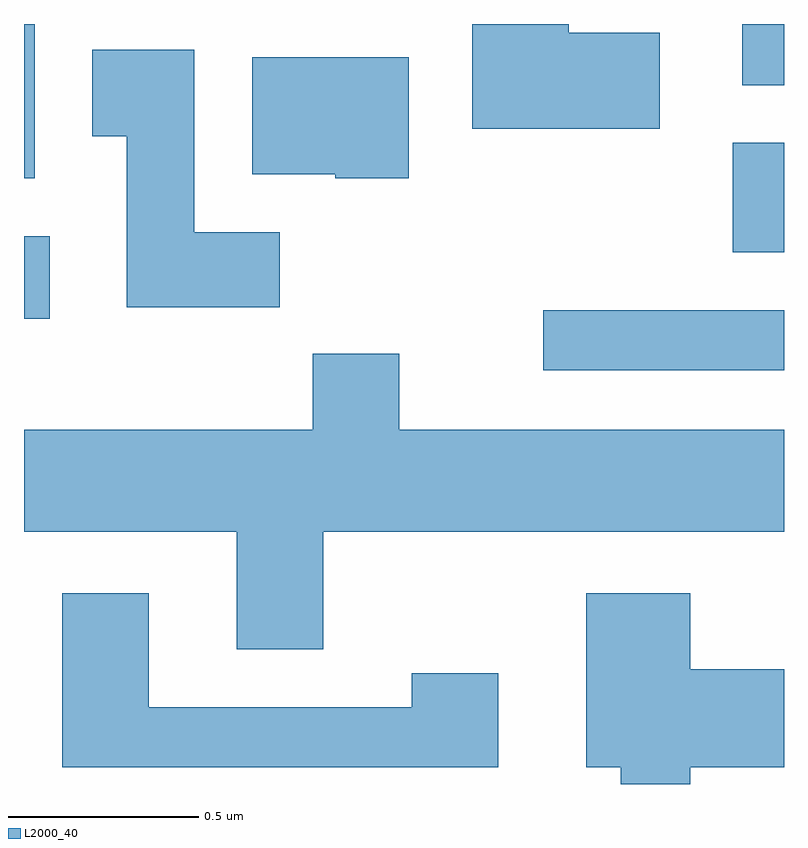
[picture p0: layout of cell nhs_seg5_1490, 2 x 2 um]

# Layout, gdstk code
import gdstk
lib = gdstk.Library(unit=1e-6, precision=1e-09)
def R(c, l, rs):  # rectangles x0, y0, x1, y1
    for r in rs: c.add(gdstk.rectangle(r[:2], r[2:], *l))
def P(c, l, *ps):  # polygons
    for p in ps: c.add(gdstk.Polygon(p, *l))
L2000_40 = (2000, 40)

nhs_seg5_1490 = lib.new_cell('nhs_seg5_1490')
R(nhs_seg5_1490, L2000_40, [(196.978,1517.161,197.611,1517.319), (195.611,1517.296,195.679,1517.514), (197.476,1517.471,197.611,1517.759), (195.611,1517.666,195.639,1518.072), (197.501,1517.911,197.611,1518.072)])
P(nhs_seg5_1490, L2000_40, [(197.284,1518.049),(197.044,1518.049),(197.044,1518.072),(196.791,1518.072),(196.791,1517.796),(197.284,1517.796)],
  [(196.284,1517.524),(196.059,1517.524),(196.059,1518.004),(195.791,1518.004),(195.791,1517.776),(195.881,1517.776),(195.881,1517.326),(196.284,1517.326)],
  [(196.624,1517.984),(196.211,1517.984),(196.211,1517.676),(196.43,1517.676),(196.43,1517.666),(196.624,1517.666)],
  [(196.399,1516.736),(197.611,1516.736),(197.611,1517.004),(196.599,1517.004),(196.599,1517.204),(196.371,1517.204),(196.371,1517.004),(195.611,1517.004),(195.611,1516.736),(196.171,1516.736),(196.171,1516.426),(196.399,1516.426)],
  [(196.859,1516.364),(196.631,1516.364),(196.631,1516.274),(195.939,1516.274),(195.939,1516.574),(195.711,1516.574),(195.711,1516.116),(196.859,1516.116)],
  [(197.364,1516.116),(197.611,1516.116),(197.611,1516.374),(197.364,1516.374),(197.364,1516.574),(197.091,1516.574),(197.091,1516.116),(197.181,1516.116),(197.181,1516.072),(197.364,1516.072)])

lib.write_gds('nhs_seg5_1490.gds')
